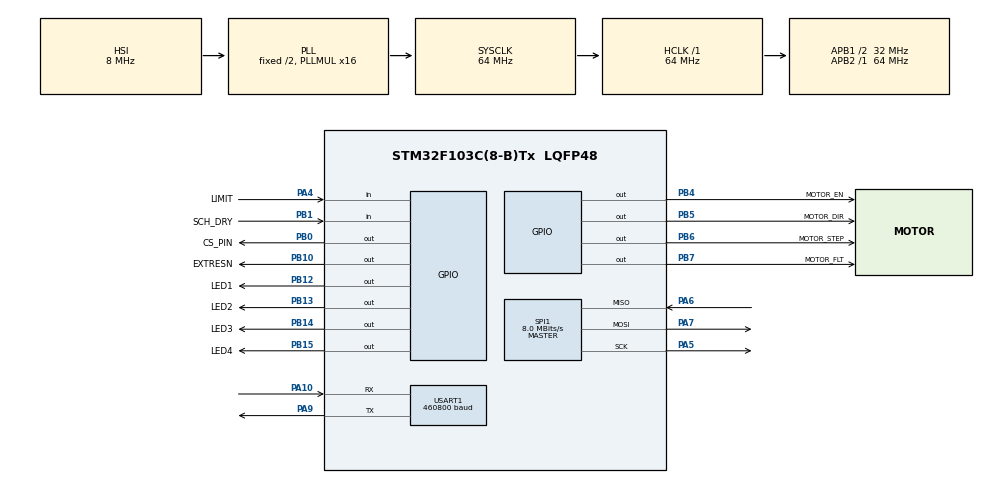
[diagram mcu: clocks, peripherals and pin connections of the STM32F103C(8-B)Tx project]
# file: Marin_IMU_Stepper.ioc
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Dma.Request0=USART1_TX
Dma.Request1=USART1_RX
Dma.USART1_RX.1.Direction=DMA_PERIPH_TO_MEMORY
Dma.USART1_RX.1.Instance=DMA1_Channel5
Dma.USART1_RX.1.MemDataAlignment=DMA_MDATAALIGN_BYTE
Dma.USART1_RX.1.MemInc=DMA_MINC_ENABLE
Dma.USART1_RX.1.Mode=DMA_NORMAL
Dma.USART1_RX.1.PeriphDataAlignment=DMA_PDATAALIGN_BYTE
Dma.USART1_RX.1.PeriphInc=DMA_PINC_DISABLE
Dma.USART1_RX.1.Priority=DMA_PRIORITY_LOW
Dma.USART1_TX.0.Direction=DMA_MEMORY_TO_PERIPH
Dma.USART1_TX.0.Instance=DMA1_Channel4
Dma.USART1_TX.0.MemDataAlignment=DMA_MDATAALIGN_BYTE
Dma.USART1_TX.0.MemInc=DMA_MINC_ENABLE
Dma.USART1_TX.0.Mode=DMA_NORMAL
Dma.USART1_TX.0.PeriphDataAlignment=DMA_PDATAALIGN_BYTE
Dma.USART1_TX.0.PeriphInc=DMA_PINC_DISABLE
Dma.USART1_TX.0.Priority=DMA_PRIORITY_LOW
Mcu.Family=STM32F1
Mcu.Name=STM32F103C(8-B)Tx
Mcu.Package=LQFP48
NVIC.DMA1_Channel4_IRQn=true\:0\:0\:false\:false\:true\:false\:true\:true
NVIC.DMA1_Channel5_IRQn=true\:0\:0\:false\:false\:true\:false\:true\:true
NVIC.PriorityGroup=NVIC_PRIORITYGROUP_4
NVIC.SPI1_IRQn=true\:0\:0\:false\:false\:true\:true\:true\:true
NVIC.TIM2_IRQn=true\:0\:0\:false\:false\:true\:true\:true\:true
NVIC.TIM4_IRQn=true\:0\:0\:false\:false\:true\:true\:true\:true
NVIC.USART1_IRQn=true\:0\:0\:false\:false\:true\:true\:true\:true
PA10.Mode=Asynchronous
PA10.Signal=USART1_RX
PA13.Mode=Serial_Wire
PA13.Signal=SYS_JTMS-SWDIO
PA14.Mode=Serial_Wire
PA14.Signal=SYS_JTCK-SWCLK
PA4.GPIO_Label=LIMIT
PA4.Signal=GPIO_Input
PA5.Mode=Full_Duplex_Master
PA5.Signal=SPI1_SCK
PA6.Mode=Full_Duplex_Master
PA6.Signal=SPI1_MISO
PA7.Mode=Full_Duplex_Master
PA7.Signal=SPI1_MOSI
PA9.Mode=Asynchronous
PA9.Signal=USART1_TX
PB0.GPIO_Label=CS_PIN
PB0.Signal=GPIO_Output
PB1.GPIO_Label=SCH_DRY
PB1.GPIO_PuPd=GPIO_PULLUP
PB1.Signal=GPIO_Input
PB10.GPIO_Label=EXTRESN
PB10.Signal=GPIO_Output
PB12.GPIO_Label=LED1
PB12.GPIO_Speed=GPIO_SPEED_FREQ_HIGH
PB12.Signal=GPIO_Output
PB13.GPIO_Label=LED2
PB13.GPIO_Speed=GPIO_SPEED_FREQ_HIGH
PB13.Signal=GPIO_Output
PB14.GPIO_Label=LED3
PB14.GPIO_Speed=GPIO_SPEED_FREQ_HIGH
PB14.Signal=GPIO_Output
PB15.GPIO_Label=LED4
PB15.GPIO_Speed=GPIO_SPEED_FREQ_HIGH
PB15.Signal=GPIO_Output
PB3.Signal=S_TIM2_CH2
PB4.GPIO_Label=MOTOR_EN
PB4.GPIO_Speed=GPIO_SPEED_FREQ_HIGH
PB4.Signal=GPIO_Output
PB5.GPIO_Label=MOTOR_DIR
PB5.GPIO_Speed=GPIO_SPEED_FREQ_HIGH
PB5.Signal=GPIO_Output
PB6.GPIO_Label=MOTOR_STEP
PB6.GPIO_Speed=GPIO_SPEED_FREQ_HIGH
PB6.Signal=GPIO_Output
PB7.GPIO_Label=MOTOR_FLT
PB7.GPIO_Speed=GPIO_SPEED_FREQ_HIGH
PB7.Signal=GPIO_Output
ProjectManager.HeapSize=0x200
ProjectManager.StackSize=0x400
ProjectManager.TargetToolchain=STM32CubeIDE
RCC.AHBFreq_Value=64000000
RCC.APB1CLKDivider=RCC_HCLK_DIV2
RCC.APB1Freq_Value=32000000
RCC.APB1TimFreq_Value=64000000
RCC.APB2Freq_Value=64000000
RCC.APB2TimFreq_Value=64000000
RCC.HCLKFreq_Value=64000000
RCC.PLLMUL=RCC_PLL_MUL16
RCC.SYSCLKFreq_VALUE=64000000
RCC.SYSCLKSource=RCC_SYSCLKSOURCE_PLLCLK
RCC.USBFreq_Value=64000000
SH.S_TIM2_CH2.0=TIM2_CH2
SPI1.BaudRatePrescaler=SPI_BAUDRATEPRESCALER_8
SPI1.CalculateBaudRate=8.0 MBits/s
SPI1.DataSize=SPI_DATASIZE_16BIT
SPI1.Direction=SPI_DIRECTION_2LINES
SPI1.Mode=SPI_MODE_MASTER
SPI1.VirtualType=VM_MASTER
TIM2.Period=1000-1
TIM2.Prescaler=64-1
TIM4.Period=999
TIM4.Prescaler=640-1
USART1.BaudRate=460800
USART1.VirtualMode=VM_ASYNC
VP_TIM2_VS_ClockSourceINT.Mode=Internal
VP_TIM4_VS_ClockSourceINT.Mode=Internal
board=custom

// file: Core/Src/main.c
/* USER CODE BEGIN Header */
/**
  ******************************************************************************
  * @file           : main.c
  * @brief          : Main program body
  ******************************************************************************
  * @attention
  *
  * Copyright (c) 2025 STMicroelectronics.
  * All rights reserved.
  *
  * This software is licensed under terms that can be found in the LICENSE file
  * in the root directory of this software component.
  * If no LICENSE file comes with this software, it is provided AS-IS.
  *
  ******************************************************************************
  */
/* USER CODE END Header */
#include "main.h"
#include "dma.h"
#include "spi.h"
#include "tim.h"
#include "usart.h"
#include "gpio.h"

/* USER CODE BEGIN Includes */
#include <stdbool.h>
#include <string.h>
#include "./Sources/SCHsensor.h"
/* USER CODE END Includes */

/* USER CODE BEGIN PTD */

SCHResult DataSCH16;

static volatile bool SCH1_error_available = false;
SCHRawData SCH1_summed_data_buffer;

// Function prototypes
static void SystemClock_Config(void);
static void readingSCHData_callback(void);

char serialNum[15];

typedef struct{
	uint8_t timerCallback : 1;
	uint8_t uartCallback : 1;
}flag_t;

flag_t systemFlag = {0};
SCHResult Data;
/* USER CODE END PTD */

void SystemClock_Config(void);

int main(void)
{

  /* USER CODE BEGIN 1 */
	SCHFilter         Filter;
	SCHSensitivity    Sensitivity;
	SCHDecimation     Decimation;
	int  init_status;
  /* USER CODE END 1 */

  /* MCU Configuration--------------------------------------------------------*/

  /* Reset of all peripherals, Initializes the Flash interface and the Systick. */
  HAL_Init();

  /* Configure the system clock */
  SystemClock_Config();

  /* Initialize all configured peripherals */
  MX_GPIO_Init();
  MX_DMA_Init();
  MX_SPI1_Init();
  MX_TIM4_Init();
  MX_USART1_UART_Init();
  MX_TIM2_Init();
  /* USER CODE BEGIN 2 */
	Filter.rate = FILTER_RATE;
	Filter.acc  = FILTER_ACC12;
	Filter.acc3 = FILTER_ACC3;

	// SCH1600 sensitivity settings
	Sensitivity.rate1 = SENSITIVITY_RATE1;
	Sensitivity.rate2 = SENSITIVITY_RATE2;
	Sensitivity.acc1  = SENSITIVITY_ACC1;
	Sensitivity.acc2  = SENSITIVITY_ACC2;
	Sensitivity.acc3  = SENSITIVITY_ACC3;

	// SCH1600 decimation settings (for Rate2 and Acc2 channels).
	Decimation.rate2 = DECIMATION_RATE;
	Decimation.acc2  = DECIMATION_ACC;
	// Initialize the sensor
	init_status = SCHInit(Filter, Sensitivity, Decimation, false);
	if (init_status != SCH_OK) {
		 HAL_Delay(50);
		 SCHReset();
		 NVIC_SystemReset();
	}
	/** read serial number sensor**/
	strcpy(serialNum, SCHGetSnbr());
	// With 1000 Hz sample rate and 10x averaging we get Output Data Rate (ODR) of 100 Hz.
	HAL_TIM_Base_Start_IT(&htim2);
	HAL_UART_Transmit_DMA(&huart1, (uint8_t*)&Data, sizeof(Data));

  /* USER CODE END 2 */

  /* Infinite loop */
  /* USER CODE BEGIN WHILE */
  while (1)
  {
  	/***If  SCH sensor has a problem, it will be restarted. ***/
		if (SCH1_error_available) {
				// Error from sensor. Stop sample timer to avoid race condition when reading status.
				HAL_TIM_Base_Stop_IT(&htim2);
				SCH1_error_available = false;
				// Read SCH1600 status registers
				SCHStatus Status;
				SCHGetStatus(&Status);
				// Restart sampling timer
				HAL_TIM_Base_Start_IT(&htim2);
		}
		/*** reading SCH sensor data every 1ms  ***/
		if(systemFlag.timerCallback && systemFlag.uartCallback)
		{
			systemFlag.timerCallback = 0;
			systemFlag.uartCallback = 0;
			readingSCHData_callback();
			HAL_UART_Transmit_DMA(&huart1, (uint8_t*)&Data, sizeof(Data));
		}
    /* USER CODE END WHILE */

  }
}

void SystemClock_Config(void)
{
  RCC_OscInitTypeDef RCC_OscInitStruct = {0};
  RCC_ClkInitTypeDef RCC_ClkInitStruct = {0};

  /** Initializes the RCC Oscillators according to the specified parameters
  * in the RCC_OscInitTypeDef structure.
  */
  RCC_OscInitStruct.OscillatorType = RCC_OSCILLATORTYPE_HSI;
  RCC_OscInitStruct.HSIState = RCC_HSI_ON;
  RCC_OscInitStruct.HSICalibrationValue = RCC_HSICALIBRATION_DEFAULT;
  RCC_OscInitStruct.PLL.PLLState = RCC_PLL_ON;
  RCC_OscInitStruct.PLL.PLLSource = RCC_PLLSOURCE_HSI_DIV2;
  RCC_OscInitStruct.PLL.PLLMUL = RCC_PLL_MUL16;
  if (HAL_RCC_OscConfig(&RCC_OscInitStruct) != HAL_OK)
  {
    Error_Handler();
  }

  /** Initializes the CPU, AHB and APB buses clocks
  */
  RCC_ClkInitStruct.ClockType = RCC_CLOCKTYPE_HCLK|RCC_CLOCKTYPE_SYSCLK
                              |RCC_CLOCKTYPE_PCLK1|RCC_CLOCKTYPE_PCLK2;
  RCC_ClkInitStruct.SYSCLKSource = RCC_SYSCLKSOURCE_PLLCLK;
  RCC_ClkInitStruct.AHBCLKDivider = RCC_SYSCLK_DIV1;
  RCC_ClkInitStruct.APB1CLKDivider = RCC_HCLK_DIV2;
  RCC_ClkInitStruct.APB2CLKDivider = RCC_HCLK_DIV1;

  if (HAL_RCC_ClockConfig(&RCC_ClkInitStruct, FLASH_LATENCY_2) != HAL_OK)
  {
    Error_Handler();
  }
}

/* USER CODE BEGIN 4 */
void HAL_UART_RxHalfCallback(UART_HandleTypeDef* huart)
{
		switch ((uint32_t) huart->Instance)
	  {
	    case USART1_BASE:

	      break;
	    default:

	      break;
	  }
}
void HAL_UART_TxHalfCallback(UART_HandleTypeDef* huart)
{
		switch ((uint32_t) huart->Instance)
	  {
	    case USART1_BASE:

	      break;
	    default:

	      break;
	  }
}
void HAL_UART_RxCpltCallback(UART_HandleTypeDef* huart) {
		switch ((uint32_t) huart->Instance)
	  {
				case USART1_BASE:

					break;
				default:

					break;
	  }

}

void HAL_UART_TxCpltCallback(UART_HandleTypeDef* huart)
{
  switch ((uint32_t) huart->Instance)
  {
			case USART1_BASE:
				systemFlag.uartCallback = 1;
				break;
			default:

				break;
  }
}
/*** reading SCH sensor data  ***/
static void readingSCHData_callback(void)
{
    SCHGetData(&SCH1_summed_data_buffer);
    SCHGetData2(&SCH1_summed_data_buffer);
    if (SCH1_summed_data_buffer.frameError)
        SCH1_error_available = true;

    SCHConvertData(&SCH1_summed_data_buffer, &Data);
}

/*** TIMER 2  1000HZ Or 1ms ***/
void HAL_TIM_PeriodElapsedCallback(TIM_HandleTypeDef *htim)
{
    if (htim == &htim2)
    {
    	systemFlag.timerCallback = 1;
    }
}

/* USER CODE END 4 */

void Error_Handler(void)
{
  __disable_irq();
  while (1)
  {
  }
}
